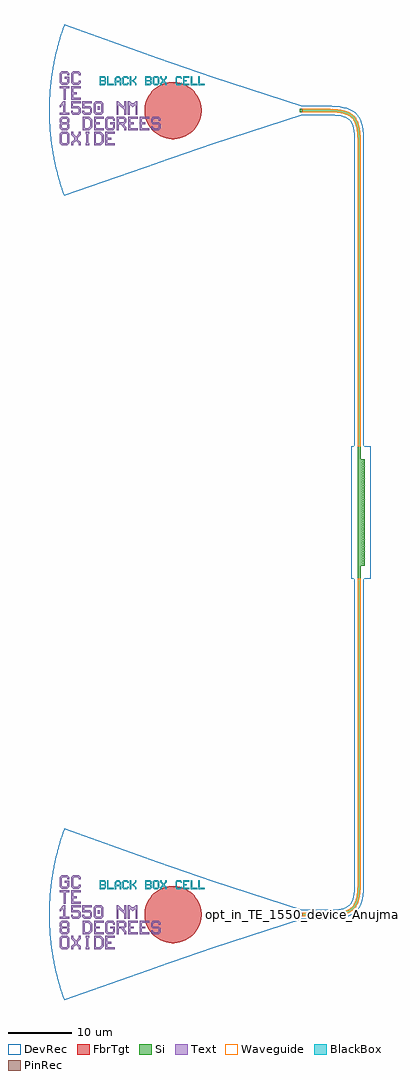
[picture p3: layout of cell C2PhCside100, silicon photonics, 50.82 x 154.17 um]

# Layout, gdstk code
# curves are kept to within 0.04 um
from math import pi, radians
import gdstk
lib = gdstk.Library(unit=1e-6, precision=1e-09)
def R(c, l, rs):  # rectangles x0, y0, x1, y1
    for r in rs: c.add(gdstk.rectangle(r[:2], r[2:], *l))
def P(c, l, *ps):  # polygons
    for p in ps: c.add(gdstk.Polygon(p, *l))
Si = (1, 0)
PinRec = (1, 10)
Waveguide = (1, 99)
Text = (10, 0)
DevRec = (68, 0)
FbrTgt = (81, 0)
BlackBox = (998, 0)

text = lib.new_cell('TEXT')
P(text, BlackBox, [(0,0),(0,1.4),(0.8,1.4),(1,1.2),(0.2,1.2),(0.2,0.8),(0.7,0.8),(0.8,0.9),(0.8,1.1),(0.7,1.2),(1,1.2),(1,0.8),(0.9,0.7),(1,0.6),(0.2,0.6),(0.2,0.2),(0.7,0.2),(0.8,0.3),(0.8,0.5),(0.7,0.6),(1,0.6),(1,0.2),(0.8,0)],
  [(1.2,0),(1.2,1.4),(1.4,1.4),(1.4,0.2),(2.2,0.2),(2.2,0)],
  [(2.4,0),(2.4,1.1),(2.7,1.4),(3.1,1.4),(3.3,1.2),(2.8,1.2),(2.6,1),(2.6,0.7),(3.2,0.7),(3.2,1),(3,1.2),(3.3,1.2),(3.4,1.1),(3.4,0),(3.2,0),(3.2,0.5),(2.6,0.5),(2.6,0)],
  [(3.8,0),(3.6,0.2),(3.6,1.2),(3.8,1.4),(4.4,1.4),(4.6,1.2),(4.6,1),(4.4,1),(4.4,1.1),(4.3,1.2),(3.9,1.2),(3.8,1.1),(3.8,0.3),(3.9,0.2),(4.3,0.2),(4.4,0.3),(4.4,0.4),(4.6,0.4),(4.6,0.2),(4.4,0)],
  [(4.8,0),(4.8,1.4),(5,1.4),(5,0.8),(5.2,0.8),(5.6,1.2),(5.6,1.4),(5.8,1.4),(5.8,1.1),(5.4,0.7),(5.8,0.3),(5.8,0),(5.6,0),(5.6,0.2),(5.2,0.6),(5,0.6),(5,0)],
  [(7.2,0),(7.2,1.4),(8,1.4),(8.2,1.2),(7.4,1.2),(7.4,0.8),(7.9,0.8),(8,0.9),(8,1.1),(7.9,1.2),(8.2,1.2),(8.2,0.8),(8.1,0.7),(8.2,0.6),(7.4,0.6),(7.4,0.2),(7.9,0.2),(8,0.3),(8,0.5),(7.9,0.6),(8.2,0.6),(8.2,0.2),(8,0)],
  [(8.6,0),(8.4,0.2),(8.4,1.2),(8.6,1.4),(9.2,1.4),(9.4,1.2),(9.4,0.7),(9.2,0.7),(9.2,1.1),(9.1,1.2),(8.7,1.2),(8.6,1.1),(8.6,0.3),(8.7,0.2),(9.1,0.2),(9.2,0.3),(9.2,0.7),(9.4,0.7),(9.4,0.2),(9.2,0)],
  [(9.6,0),(9.6,0.3),(9.9,0.6),(9.9,0.8),(9.6,1.1),(9.6,1.4),(9.8,1.4),(9.8,1.2),(10.1,0.9),(10.4,1.2),(10.4,1.4),(10.6,1.4),(10.6,1.1),(10.3,0.8),(10.3,0.6),(10.6,0.3),(10.6,0),(10.4,0),(10.4,0.2),(10.1,0.5),(9.8,0.2),(9.8,0)],
  [(12.2,0),(12,0.2),(12,1.2),(12.2,1.4),(12.8,1.4),(13,1.2),(13,1),(12.8,1),(12.8,1.1),(12.7,1.2),(12.3,1.2),(12.2,1.1),(12.2,0.3),(12.3,0.2),(12.7,0.2),(12.8,0.3),(12.8,0.4),(13,0.4),(13,0.2),(12.8,0)],
  [(13.2,0),(13.2,1.4),(14.2,1.4),(14.2,1.2),(13.4,1.2),(13.4,0.8),(13.8,0.8),(13.8,0.6),(13.4,0.6),(13.4,0.2),(14.2,0.2),(14.2,0)],
  [(14.4,0),(14.4,1.4),(14.6,1.4),(14.6,0.2),(15.4,0.2),(15.4,0)],
  [(15.6,0),(15.6,1.4),(15.8,1.4),(15.8,0.2),(16.6,0.2),(16.6,0)])

gc_te_1550_8degoxide_bb = lib.new_cell('GC_TE_1550_8degOxide_BB')
R(gc_te_1550_8degoxide_bb, Si, [(-0.4,-0.25,0,0.25)])
R(gc_te_1550_8degoxide_bb, Text, [(-32.313,0.092,-32.013,0.692)])
P(gc_te_1550_8degoxide_bb, Text, [(-37.67,1.71),(-37.67,3.51),(-38.27,3.51),(-38.27,3.81),(-36.77,3.81),(-36.77,3.51),(-37.37,3.51),(-37.37,1.71)],
  [(-37.97,-5.49),(-38.27,-5.19),(-38.27,-3.69),(-37.97,-3.39),(-37.07,-3.39),(-36.77,-3.69),(-36.77,-4.44),(-37.07,-4.44),(-37.07,-3.84),(-37.22,-3.69),(-37.82,-3.69),(-37.97,-3.84),(-37.97,-5.04),(-37.82,-5.19),(-37.22,-5.19),(-37.07,-5.04),(-37.07,-4.44),(-36.77,-4.44),(-36.77,-5.19),(-37.07,-5.49)],
  [(-31.07,-5.49),(-31.07,-3.39),(-29.57,-3.39),(-29.57,-3.69),(-30.77,-3.69),(-30.77,-4.29),(-30.17,-4.29),(-30.17,-4.59),(-30.77,-4.59),(-30.77,-5.19),(-29.57,-5.19),(-29.57,-5.49)],
  [(-32.87,-3.09),(-32.87,-0.99),(-31.37,-0.99),(-31.37,-1.29),(-32.57,-1.29),(-32.57,-1.89),(-31.97,-1.89),(-31.97,-2.19),(-32.57,-2.19),(-32.57,-2.79),(-31.37,-2.79),(-31.37,-3.09)],
  [(-27.47,-3.09),(-27.47,-0.99),(-25.97,-0.99),(-25.97,-1.29),(-27.17,-1.29),(-27.17,-1.89),(-26.57,-1.89),(-26.57,-2.19),(-27.17,-2.19),(-27.17,-2.79),(-25.97,-2.79),(-25.97,-3.09)],
  [(-25.67,-3.09),(-25.67,-0.99),(-24.17,-0.99),(-24.17,-1.29),(-25.37,-1.29),(-25.37,-1.89),(-24.77,-1.89),(-24.77,-2.19),(-25.37,-2.19),(-25.37,-2.79),(-24.17,-2.79),(-24.17,-3.09)],
  [(-36.47,1.71),(-36.47,3.81),(-34.97,3.81),(-34.97,3.51),(-36.17,3.51),(-36.17,2.91),(-35.57,2.91),(-35.57,2.61),(-36.17,2.61),(-36.17,2.01),(-34.97,2.01),(-34.97,1.71)],
  [(-29.313,-0.658),(-29.313,1.442),(-29.013,1.442),(-28.263,0.692),(-28.113,0.692),(-28.113,1.442),(-27.813,1.442),(-27.813,-0.658),(-28.113,-0.658),(-28.113,0.092),(-28.863,0.842),(-29.013,0.842),(-29.013,-0.658)],
  [(-34.22,-5.49),(-34.22,-5.19),(-34.07,-5.19),(-34.07,-3.69),(-34.22,-3.69),(-34.22,-3.39),(-33.62,-3.39),(-33.62,-3.69),(-33.77,-3.69),(-33.77,-5.19),(-33.62,-5.19),(-33.62,-5.49)],
  [(-36.17,4.11),(-36.47,4.41),(-36.47,5.91),(-36.17,6.21),(-35.27,6.21),(-34.97,5.91),(-34.97,5.61),(-35.27,5.61),(-35.27,5.76),(-35.42,5.91),(-36.02,5.91),(-36.17,5.76),(-36.17,4.56),(-36.02,4.41),(-35.42,4.41),(-35.27,4.56),(-35.27,4.71),(-34.97,4.71),(-34.97,4.41),(-35.27,4.11)],
  [(-27.513,-0.658),(-27.513,1.442),(-27.213,1.442),(-26.913,1.142),(-26.613,1.142),(-26.313,1.442),(-26.013,1.442),(-26.013,-0.658),(-26.313,-0.658),(-26.313,0.842),(-26.463,0.842),(-26.763,0.542),(-27.063,0.842),(-27.213,0.842),(-27.213,-0.658)],
  [(-32.613,-0.658),(-32.913,-0.358),(-32.913,1.142),(-32.613,1.442),(-31.713,1.442),(-31.413,1.142),(-32.463,1.142),(-32.613,0.992),(-32.613,-0.208),(-32.463,-0.358),(-31.863,-0.358),(-31.713,-0.208),(-31.713,0.992),(-31.863,1.142),(-31.413,1.142),(-31.413,-0.358),(-31.713,-0.658)],
  [(-32.87,-5.49),(-32.87,-3.39),(-31.82,-3.39),(-31.52,-3.69),(-32.57,-3.69),(-32.57,-5.19),(-31.97,-5.19),(-31.67,-4.89),(-31.67,-3.99),(-31.97,-3.69),(-31.52,-3.69),(-31.37,-3.84),(-31.37,-5.04),(-31.82,-5.49)],
  [(-34.67,-3.09),(-34.67,-0.99),(-33.62,-0.99),(-33.32,-1.29),(-34.37,-1.29),(-34.37,-2.79),(-33.77,-2.79),(-33.47,-2.49),(-33.47,-1.59),(-33.77,-1.29),(-33.32,-1.29),(-33.17,-1.44),(-33.17,-2.64),(-33.62,-3.09)],
  [(-23.57,-3.09),(-23.87,-2.79),(-23.87,-2.49),(-23.57,-2.49),(-23.57,-2.64),(-23.42,-2.79),(-22.82,-2.79),(-22.67,-2.64),(-22.67,-2.34),(-22.82,-2.19),(-23.57,-2.19),(-23.87,-1.89),(-23.87,-1.29),(-23.57,-0.99),(-22.67,-0.99),(-22.37,-1.29),(-22.37,-1.59),(-22.67,-1.59),(-22.67,-1.44),(-22.82,-1.29),(-23.42,-1.29),(-23.57,-1.44),(-23.57,-1.74),(-23.42,-1.89),(-22.67,-1.89),(-22.37,-2.19),(-22.37,-2.79),(-22.67,-3.09)],
  [(-36.213,-0.658),(-36.513,-0.358),(-36.513,-0.058),(-36.213,-0.058),(-36.213,-0.208),(-36.063,-0.358),(-35.463,-0.358),(-35.313,-0.208),(-35.313,0.242),(-35.463,0.392),(-36.513,0.392),(-36.513,1.442),(-35.013,1.442),(-35.013,1.142),(-36.213,1.142),(-36.213,0.692),(-35.313,0.692),(-35.013,0.392),(-35.013,-0.358),(-35.313,-0.658)],
  [(-34.413,-0.658),(-34.713,-0.358),(-34.713,-0.058),(-34.413,-0.058),(-34.413,-0.208),(-34.263,-0.358),(-33.663,-0.358),(-33.513,-0.208),(-33.513,0.242),(-33.663,0.392),(-34.713,0.392),(-34.713,1.442),(-33.213,1.442),(-33.213,1.142),(-34.413,1.142),(-34.413,0.692),(-33.513,0.692),(-33.213,0.392),(-33.213,-0.358),(-33.513,-0.658)],
  [(-37.97,-3.09),(-38.27,-2.79),(-38.27,-2.19),(-38.12,-2.04),(-38.27,-1.89),(-38.27,-1.29),(-37.97,-0.99),(-37.07,-0.99),(-36.77,-1.29),(-37.82,-1.29),(-37.97,-1.44),(-37.97,-1.74),(-37.82,-1.89),(-37.22,-1.89),(-37.07,-1.74),(-37.07,-1.44),(-37.22,-1.29),(-36.77,-1.29),(-36.77,-1.89),(-36.92,-2.04),(-36.77,-2.19),(-37.82,-2.19),(-37.97,-2.34),(-37.97,-2.64),(-37.82,-2.79),(-37.22,-2.79),(-37.07,-2.64),(-37.07,-2.34),(-37.22,-2.19),(-36.77,-2.19),(-36.77,-2.79),(-37.07,-3.09)],
  [(-38.313,-0.658),(-38.313,-0.358),(-37.713,-0.358),(-37.713,0.842),(-37.863,0.842),(-38.163,0.542),(-38.313,0.542),(-38.313,0.842),(-37.713,1.442),(-37.413,1.442),(-37.413,-0.358),(-36.813,-0.358),(-36.813,-0.658)],
  [(-36.47,-5.49),(-36.47,-5.04),(-36.02,-4.59),(-36.02,-4.29),(-36.47,-3.84),(-36.47,-3.39),(-36.17,-3.39),(-36.17,-3.69),(-35.72,-4.14),(-35.27,-3.69),(-35.27,-3.39),(-34.97,-3.39),(-34.97,-3.84),(-35.42,-4.29),(-35.42,-4.59),(-34.97,-5.04),(-34.97,-5.49),(-35.27,-5.49),(-35.27,-5.19),(-35.72,-4.74),(-36.17,-5.19),(-36.17,-5.49)],
  [(-30.77,-3.09),(-31.07,-2.79),(-31.07,-1.29),(-30.77,-0.99),(-29.87,-0.99),(-29.57,-1.29),(-29.57,-1.59),(-29.87,-1.59),(-29.87,-1.44),(-30.02,-1.29),(-30.62,-1.29),(-30.77,-1.44),(-30.77,-2.64),(-30.62,-2.79),(-30.02,-2.79),(-29.87,-2.64),(-29.87,-2.19),(-30.32,-2.19),(-30.32,-1.89),(-29.57,-1.89),(-29.57,-2.79),(-29.87,-3.09)],
  [(-37.97,4.11),(-38.27,4.41),(-38.27,5.91),(-37.97,6.21),(-37.07,6.21),(-36.77,5.91),(-36.77,5.61),(-37.07,5.61),(-37.07,5.76),(-37.22,5.91),(-37.82,5.91),(-37.97,5.76),(-37.97,4.56),(-37.82,4.41),(-37.22,4.41),(-37.07,4.56),(-37.07,5.01),(-37.52,5.01),(-37.52,5.31),(-36.77,5.31),(-36.77,4.41),(-37.07,4.11)],
  [(-29.27,-3.09),(-29.27,-0.99),(-28.07,-0.99),(-27.77,-1.29),(-28.97,-1.29),(-28.97,-1.89),(-28.22,-1.89),(-28.07,-1.74),(-28.07,-1.44),(-28.22,-1.29),(-27.77,-1.29),(-27.77,-1.89),(-28.07,-2.19),(-28.07,-2.34),(-27.77,-2.64),(-27.77,-3.09),(-28.07,-3.09),(-28.07,-2.79),(-28.67,-2.19),(-28.97,-2.19),(-28.97,-3.09)])
P(gc_te_1550_8degoxide_bb, DevRec, [(-37.607,-13.5),(-38.627,-10.245),(-39.378,-6.832),(-39.647,-5.058),(-39.835,-3.274),(-39.969,0.224),(-39.812,3.541),(-39.331,7.097),(-38.557,10.505),(-37.546,13.669),(-22.8,8.353),(-14.109,5.36),(0,0.75),(0,-0.75),(-14.109,-5.36)])
P(gc_te_1550_8degoxide_bb, FbrTgt, [(-20.621,-4.5),(-21.495,-4.37),(-22.326,-4.073),(-23.084,-3.619),(-23.738,-3.026),(-24.264,-2.316),(-24.642,-1.518),(-24.857,-0.661),(-24.9,0.221),(-24.77,1.095),(-24.473,1.926),(-24.019,2.684),(-23.426,3.338),(-22.716,3.864),(-21.918,4.242),(-21.061,4.457),(-20.179,4.5),(-19.305,4.37),(-18.474,4.073),(-17.716,3.619),(-17.062,3.026),(-16.536,2.316),(-16.158,1.518),(-15.943,0.661),(-15.9,-0.221),(-16.03,-1.095),(-16.327,-1.926),(-16.781,-2.684),(-17.374,-3.338),(-18.084,-3.864),(-18.882,-4.242),(-19.739,-4.457)])
gc_te_1550_8degoxide_bb.add(gdstk.FlexPath([(-0.01,0),(0.01,0)], 0.5, ends="flush", simple_path=True, layer=1, datatype=10))  # PinRec
gc_te_1550_8degoxide_bb.add(gdstk.Reference(text, (-32,4)))
gc_te_1550_8degoxide_bb.add(gdstk.Label('opt1', (0,0), layer=1, texttype=10))
gc_te_1550_8degoxide_bb.add(gdstk.Label('Lumerical_INTERCONNECT_library=Design kits/ebeam', (-29,-7), layer=68, texttype=0))
gc_te_1550_8degoxide_bb.add(gdstk.Label('Component=GC_TE_1550_8degOxide_BB', (-28,-5), layer=68, texttype=0))

nanobeam_side_r110nm_ac3 = lib.new_cell('nanobeam_side_r110nm_ac342nm_am377nm_m12_g100nm')
R(nanobeam_side_r110nm_ac3, Si, [(-10.441,-0.25,10.441,0.25)])
P(nanobeam_side_r110nm_ac3, Si, [(-8.441,-0.85),(-8.441,-0.49),(-7.831,-0.49),(-7.909,-0.522),(-7.941,-0.589),(-7.909,-0.678),(-7.831,-0.71),(-7.753,-0.678),(-7.721,-0.6),(-7.753,-0.522),(-7.831,-0.49),(-7.455,-0.49),(-7.532,-0.522),(-7.565,-0.6),(-7.54,-0.67),(-7.455,-0.71),(-7.377,-0.678),(-7.345,-0.611),(-7.377,-0.522),(-7.455,-0.49),(-7.078,-0.49),(-7.156,-0.522),(-7.188,-0.6),(-7.156,-0.678),(-7.078,-0.71),(-7,-0.678),(-6.968,-0.611),(-7,-0.522),(-7.078,-0.49),(-6.701,-0.49),(-6.779,-0.522),(-6.811,-0.589),(-6.779,-0.678),(-6.701,-0.71),(-6.624,-0.678),(-6.591,-0.6),(-6.616,-0.53),(-6.701,-0.49),(-6.325,-0.49),(-6.403,-0.522),(-6.435,-0.6),(-6.403,-0.678),(-6.325,-0.71),(-6.247,-0.678),(-6.215,-0.611),(-6.247,-0.522),(-6.325,-0.49),(-5.948,-0.49),(-6.026,-0.522),(-6.058,-0.589),(-6.026,-0.678),(-5.948,-0.71),(-5.87,-0.678),(-5.838,-0.6),(-5.87,-0.522),(-5.948,-0.49),(-5.572,-0.49),(-5.649,-0.522),(-5.682,-0.6),(-5.657,-0.67),(-5.572,-0.71),(-5.494,-0.678),(-5.462,-0.611),(-5.494,-0.522),(-5.572,-0.49),(-5.195,-0.49),(-5.273,-0.522),(-5.305,-0.589),(-5.273,-0.678),(-5.195,-0.71),(-5.117,-0.678),(-5.085,-0.6),(-5.117,-0.522),(-5.195,-0.49),(-4.818,-0.49),(-4.896,-0.522),(-4.928,-0.589),(-4.904,-0.67),(-4.818,-0.71),(-4.741,-0.678),(-4.708,-0.6),(-4.733,-0.53),(-4.818,-0.49),(-4.442,-0.49),(-4.52,-0.522),(-4.552,-0.6),(-4.52,-0.678),(-4.442,-0.71),(-4.364,-0.678),(-4.332,-0.611),(-4.364,-0.522),(-4.442,-0.49),(-4.065,-0.49),(-4.143,-0.522),(-4.175,-0.589),(-4.143,-0.678),(-4.065,-0.71),(-3.988,-0.678),(-3.955,-0.6),(-3.98,-0.53),(-4.065,-0.49),(-3.689,-0.49),(-3.767,-0.522),(-3.799,-0.6),(-3.767,-0.678),(-3.689,-0.71),(-3.611,-0.678),(-3.579,-0.611),(-3.611,-0.522),(-3.689,-0.49),(-3.319,-0.49),(-3.397,-0.522),(-3.429,-0.6),(-3.397,-0.678),(-3.319,-0.71),(-3.241,-0.678),(-3.209,-0.611),(-3.241,-0.522),(-3.319,-0.49),(-2.955,-0.49),(-3.032,-0.522),(-3.065,-0.6),(-3.04,-0.67),(-2.955,-0.71),(-2.877,-0.678),(-2.845,-0.611),(-2.877,-0.522),(-2.955,-0.49),(-2.596,-0.49),(-2.674,-0.522),(-2.706,-0.6),(-2.674,-0.678),(-2.596,-0.71),(-2.518,-0.678),(-2.486,-0.611),(-2.518,-0.522),(-2.596,-0.49),(-2.241,-0.49),(-2.319,-0.522),(-2.351,-0.589),(-2.319,-0.678),(-2.241,-0.71),(-2.164,-0.678),(-2.131,-0.6),(-2.156,-0.53),(-2.241,-0.49),(-1.891,-0.49),(-1.969,-0.522),(-2.001,-0.6),(-1.969,-0.678),(-1.891,-0.71),(-1.813,-0.678),(-1.781,-0.611),(-1.813,-0.522),(-1.891,-0.49),(-1.543,-0.49),(-1.621,-0.522),(-1.653,-0.589),(-1.621,-0.678),(-1.543,-0.71),(-1.466,-0.678),(-1.433,-0.6),(-1.458,-0.53),(-1.543,-0.49),(-1.198,-0.49),(-1.276,-0.522),(-1.308,-0.589),(-1.276,-0.678),(-1.198,-0.71),(-1.121,-0.678),(-1.088,-0.6),(-1.113,-0.53),(-1.198,-0.49),(-0.855,-0.49),(-0.933,-0.522),(-0.965,-0.589),(-0.933,-0.678),(-0.855,-0.71),(-0.777,-0.678),(-0.745,-0.6),(-0.777,-0.522),(-0.855,-0.49),(-0.513,-0.49),(-0.591,-0.522),(-0.623,-0.6),(-0.591,-0.678),(-0.513,-0.71),(-0.435,-0.678),(-0.403,-0.611),(-0.435,-0.522),(-0.513,-0.49),(-0.171,-0.49),(-0.249,-0.522),(-0.281,-0.6),(-0.249,-0.678),(-0.171,-0.71),(-0.093,-0.678),(-0.061,-0.611),(-0.093,-0.522),(-0.171,-0.49),(0.171,-0.49),(0.093,-0.522),(0.061,-0.589),(0.093,-0.678),(0.171,-0.71),(0.249,-0.678),(0.281,-0.6),(0.249,-0.522),(0.171,-0.49),(0.513,-0.49),(0.435,-0.522),(0.403,-0.589),(0.435,-0.678),(0.513,-0.71),(0.591,-0.678),(0.623,-0.6),(0.591,-0.522),(0.513,-0.49),(0.855,-0.49),(0.777,-0.522),(0.745,-0.6),(0.777,-0.678),(0.855,-0.71),(0.933,-0.678),(0.965,-0.611),(0.933,-0.522),(0.855,-0.49),(1.198,-0.49),(1.121,-0.522),(1.088,-0.6),(1.113,-0.67),(1.198,-0.71),(1.276,-0.678),(1.308,-0.611),(1.276,-0.522),(1.198,-0.49),(1.543,-0.49),(1.466,-0.522),(1.433,-0.6),(1.458,-0.67),(1.543,-0.71),(1.621,-0.678),(1.653,-0.611),(1.621,-0.522),(1.543,-0.49),(1.891,-0.49),(1.813,-0.522),(1.781,-0.589),(1.813,-0.678),(1.891,-0.71),(1.969,-0.678),(2.001,-0.6),(1.969,-0.522),(1.891,-0.49),(2.241,-0.49),(2.164,-0.522),(2.131,-0.6),(2.156,-0.67),(2.241,-0.71),(2.319,-0.678),(2.351,-0.611),(2.319,-0.522),(2.241,-0.49),(2.596,-0.49),(2.518,-0.522),(2.486,-0.589),(2.518,-0.678),(2.596,-0.71),(2.674,-0.678),(2.706,-0.6),(2.674,-0.522),(2.596,-0.49),(2.955,-0.49),(2.877,-0.522),(2.845,-0.589),(2.877,-0.678),(2.955,-0.71),(3.032,-0.678),(3.065,-0.6),(3.04,-0.53),(2.955,-0.49),(3.319,-0.49),(3.241,-0.522),(3.209,-0.589),(3.241,-0.678),(3.319,-0.71),(3.397,-0.678),(3.429,-0.6),(3.397,-0.522),(3.319,-0.49),(3.689,-0.49),(3.611,-0.522),(3.579,-0.589),(3.611,-0.678),(3.689,-0.71),(3.767,-0.678),(3.799,-0.6),(3.767,-0.522),(3.689,-0.49),(4.065,-0.49),(3.988,-0.522),(3.955,-0.6),(3.98,-0.67),(4.065,-0.71),(4.143,-0.678),(4.175,-0.611),(4.143,-0.522),(4.065,-0.49),(4.442,-0.49),(4.364,-0.522),(4.332,-0.589),(4.364,-0.678),(4.442,-0.71),(4.52,-0.678),(4.552,-0.6),(4.52,-0.522),(4.442,-0.49),(4.818,-0.49),(4.741,-0.522),(4.708,-0.6),(4.733,-0.67),(4.818,-0.71),(4.896,-0.678),(4.928,-0.611),(4.904,-0.53),(4.818,-0.49),(5.195,-0.49),(5.117,-0.522),(5.085,-0.6),(5.117,-0.678),(5.195,-0.71),(5.273,-0.678),(5.305,-0.611),(5.273,-0.522),(5.195,-0.49),(5.572,-0.49),(5.494,-0.522),(5.462,-0.589),(5.494,-0.678),(5.572,-0.71),(5.649,-0.678),(5.682,-0.6),(5.657,-0.53),(5.572,-0.49),(5.948,-0.49),(5.87,-0.522),(5.838,-0.6),(5.87,-0.678),(5.948,-0.71),(6.026,-0.678),(6.058,-0.611),(6.026,-0.522),(5.948,-0.49),(6.325,-0.49),(6.247,-0.522),(6.215,-0.589),(6.247,-0.678),(6.325,-0.71),(6.403,-0.678),(6.435,-0.6),(6.403,-0.522),(6.325,-0.49),(6.701,-0.49),(6.624,-0.522),(6.591,-0.6),(6.616,-0.67),(6.701,-0.71),(6.779,-0.678),(6.811,-0.611),(6.779,-0.522),(6.701,-0.49),(7.078,-0.49),(7,-0.522),(6.968,-0.589),(6.993,-0.67),(7.067,-0.709),(7.156,-0.678),(7.188,-0.6),(7.156,-0.522),(7.078,-0.49),(7.455,-0.49),(7.377,-0.522),(7.345,-0.589),(7.363,-0.661),(7.433,-0.708),(7.516,-0.691),(7.564,-0.611),(7.54,-0.53),(7.455,-0.49),(7.831,-0.49),(7.753,-0.522),(7.722,-0.589),(7.746,-0.67),(7.81,-0.708),(7.901,-0.685),(7.941,-0.611),(7.909,-0.522),(7.831,-0.49),(-8.441,-0.49),(-8.441,-0.35),(8.441,-0.35),(8.441,-0.85)])
R(nanobeam_side_r110nm_ac3, DevRec, [(-10.441,-1.85,10.441,1.25)])
nanobeam_side_r110nm_ac3.add(gdstk.FlexPath([(-10.431,0),(-10.451,0)], 0.5, ends="flush", simple_path=True, layer=1, datatype=10))  # PinRec
nanobeam_side_r110nm_ac3.add(gdstk.FlexPath([(10.431,0),(10.451,0)], 0.5, ends="flush", simple_path=True, layer=1, datatype=10))  # PinRec
nanobeam_side_r110nm_ac3.add(gdstk.Label('opt1', (-10.441,0), layer=1, texttype=10))
nanobeam_side_r110nm_ac3.add(gdstk.Label('opt2', (10.441,0), layer=1, texttype=10))
nanobeam_side_r110nm_ac3.add(gdstk.Label('Lumerical_INTERCONNECT_library=Custom/SiEPIC_user', (0,0), layer=68, texttype=0))
nanobeam_side_r110nm_ac3.add(gdstk.Label('Component=nanobeam_side_r110nm_ac342nm_am377nm_m12_g100nm', (0,-0.5), layer=68, texttype=0))
nanobeam_side_r110nm_ac3.add(gdstk.Label('Spice_param:r=0.110u gap=0.100u holes=44', (0,-1), layer=68, texttype=0))

waveguide_56 = lib.new_cell('Waveguide$56')
P(waveguide_56, Si, [(549,-0.25),(549,0.25),(553.829,0.267),(554.889,0.362),(555.864,0.594),(556.493,0.906),(557.03,1.417),(557.405,2.135),(557.612,2.955),(557.711,3.793),(557.75,5),(557.75,53.059),(558.25,53.059),(558.25,5),(558.209,3.757),(558.104,2.869),(557.824,1.832),(557.432,1.119),(556.88,0.567),(556.032,0.124),(555.13,-0.105),(554.049,-0.223)])
P(waveguide_56, Waveguide, [(549,-0.25),(549,0.25),(553.829,0.267),(554.889,0.362),(555.864,0.594),(556.493,0.906),(557.03,1.417),(557.405,2.135),(557.612,2.955),(557.711,3.793),(557.75,5),(557.75,53.059),(558.25,53.059),(558.25,5),(558.209,3.757),(558.104,2.869),(557.824,1.832),(557.432,1.119),(556.88,0.567),(556.032,0.124),(555.13,-0.105),(554.049,-0.223)])
P(waveguide_56, DevRec, [(549,-0.75),(549,0.75),(553.649,0.76),(555.193,0.925),(555.895,1.145),(556.375,1.442),(556.557,1.624),(556.854,2.104),(557.074,2.806),(557.207,3.769),(557.25,5),(557.25,53.059),(558.75,53.059),(558.75,5),(558.703,3.649),(558.54,2.49),(558.222,1.49),(557.697,0.65),(556.95,0.011),(556.027,-0.405),(554.952,-0.639),(553.701,-0.74)])
waveguide_56.add(gdstk.FlexPath([(549.01,0),(548.99,0)], 0.5, ends="flush", simple_path=True, layer=1, datatype=10))  # PinRec
waveguide_56.add(gdstk.FlexPath([(558,53.049),(558,53.069)], 0.5, ends="flush", simple_path=True, layer=1, datatype=10))  # PinRec
waveguide_56.add(gdstk.Label('opt1', (549,0), layer=1, texttype=10))
waveguide_56.add(gdstk.Label('opt2', (558,53.059), layer=1, texttype=10))
waveguide_56.add(gdstk.Label('Lumerical_INTERCONNECT_library=Design kits/EBeam', (549,-0.1), layer=68, texttype=0))
waveguide_56.add(gdstk.Label('Component=ebeam_wg_integral_1550', (549,0.1), layer=68, texttype=0))
waveguide_56.add(gdstk.Label('cellName=Waveguide', (549,0.2), layer=68, texttype=0))
waveguide_56.add(gdstk.Label('Spice_param:wg_length=0.000060507 wg_width=5e-07 points="[[549.0,0.0],[558.0,0.0],[558.0,53.059]]" radius=5e-06', (549,0), layer=68, texttype=0))
waveguide_56.add(gdstk.Label('Length=60.507 (microns)', (549,-0.6), layer=68, texttype=0))
waveguide_56.add(gdstk.Label('waveguide_type=Strip TE 1550 nm, w=500 nm', (549,-0.2), layer=68, texttype=0))

waveguide_57 = lib.new_cell('Waveguide$57')
P(waveguide_57, Si, [(557.75,73.941),(557.75,122),(557.712,123.206),(557.613,124.044),(557.406,124.864),(557.031,125.582),(556.494,126.093),(555.865,126.405),(554.89,126.637),(553.83,126.732),(549,126.75),(549,127.25),(554.05,127.222),(555.131,127.104),(556.033,126.875),(556.881,126.432),(557.433,125.88),(557.825,125.167),(558.105,124.13),(558.21,123.242),(558.25,122),(558.25,73.941)])
P(waveguide_57, Waveguide, [(557.75,73.941),(557.75,122),(557.712,123.206),(557.613,124.044),(557.406,124.864),(557.031,125.582),(556.494,126.093),(555.865,126.405),(554.89,126.637),(553.83,126.732),(549,126.75),(549,127.25),(554.05,127.222),(555.131,127.104),(556.033,126.875),(556.881,126.432),(557.433,125.88),(557.825,125.167),(558.105,124.13),(558.21,123.242),(558.25,122),(558.25,73.941)])
P(waveguide_57, DevRec, [(557.25,73.941),(557.25,122),(557.153,123.744),(556.975,124.575),(556.715,125.158),(556.558,125.375),(556.159,125.714),(555.576,125.974),(554.745,126.152),(553.65,126.239),(549,126.25),(549,127.75),(554.351,127.703),(555.51,127.54),(556.51,127.222),(557.35,126.697),(557.989,125.95),(558.405,125.027),(558.639,123.952),(558.75,122),(558.75,73.941)])
waveguide_57.add(gdstk.FlexPath([(558,73.951),(558,73.931)], 0.5, ends="flush", simple_path=True, layer=1, datatype=10))  # PinRec
waveguide_57.add(gdstk.FlexPath([(549.01,127),(548.99,127)], 0.5, ends="flush", simple_path=True, layer=1, datatype=10))  # PinRec
waveguide_57.add(gdstk.Label('opt1', (558,73.941), layer=1, texttype=10))
waveguide_57.add(gdstk.Label('opt2', (549,127), layer=1, texttype=10))
waveguide_57.add(gdstk.Label('Lumerical_INTERCONNECT_library=Design kits/EBeam', (557.9,73.941), layer=68, texttype=0))
waveguide_57.add(gdstk.Label('Component=ebeam_wg_integral_1550', (558.1,73.941), layer=68, texttype=0))
waveguide_57.add(gdstk.Label('cellName=Waveguide', (558.2,73.941), layer=68, texttype=0))
waveguide_57.add(gdstk.Label('Spice_param:wg_length=0.000060507 wg_width=5e-07 points="[[558.0,73.941],[558.0,127.0],[549.0,127.0]]" radius=5e-06', (558,73.941), layer=68, texttype=0))
waveguide_57.add(gdstk.Label('Length=60.507 (microns)', (557.4,73.941), layer=68, texttype=0))
waveguide_57.add(gdstk.Label('waveguide_type=Strip TE 1550 nm, w=500 nm', (557.8,73.941), layer=68, texttype=0))

c2phcside100 = lib.new_cell('C2PhCside100')
c2phcside100.add(gdstk.Reference(gc_te_1550_8degoxide_bb, (549,0)))
c2phcside100.add(gdstk.Reference(gc_te_1550_8degoxide_bb, (549,127)))
c2phcside100.add(gdstk.Reference(nanobeam_side_r110nm_ac3, (558,63.5), rotation=pi/2))
c2phcside100.add(gdstk.Reference(waveguide_56, (0,0)))
c2phcside100.add(gdstk.Reference(waveguide_57, (0,0)))
c2phcside100.add(gdstk.Label('opt_in_TE_1550_device_Anujmaverick_C2PhCside100', (549,0), layer=10, texttype=0))

lib.write_gds('C2PhCside100.gds')
